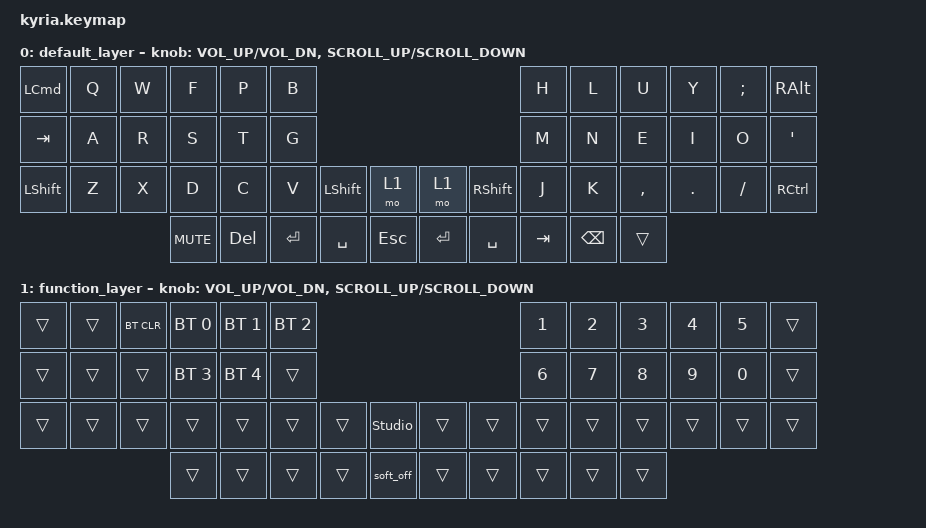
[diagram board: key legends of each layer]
/*
 * Copyright (c) 2020 The ZMK Contributors
 *
 * SPDX-License-Identifier: MIT
 */

#include <behaviors.dtsi>
#include <dt-bindings/zmk/bt.h>
#include <dt-bindings/zmk/keys.h>

/ {
    keymap {
        compatible = "zmk,keymap";

        default_layer {
            bindings = <
&kp LEFT_COMMAND  &kp Q  &kp W  &kp F       &kp P       &kp B                                                             &kp H    &kp L          &kp U      &kp Y    &kp SEMI   &kp RIGHT_ALT
&kp TAB           &kp A  &kp R  &kp S       &kp T       &kp G                                                             &kp M    &kp N          &kp E      &kp I    &kp O      &kp SINGLE_QUOTE
&kp LEFT_SHIFT    &kp Z  &kp X  &kp D       &kp C       &kp V       &kp LEFT_SHIFT  &mo 1    &mo 1       &kp RIGHT_SHIFT  &kp J    &kp K          &kp COMMA  &kp DOT  &kp SLASH  &kp RIGHT_CONTROL
                                &kp K_MUTE  &kp DELETE  &kp RETURN  &kp SPACE       &kp ESC  &kp RETURN  &kp SPACE        &kp TAB  &kp BACKSPACE  &trans
            >;

            sensor-bindings =
                <&inc_dec_kp C_VOL_UP C_VOL_DN>,
                <&inc_dec_kp K_SCROLL_UP K_SCROLL_DOWN>;
        };

        function_layer {

            bindings = <
&trans  &trans  &bt BT_CLR  &bt BT_SEL 0  &bt BT_SEL 1  &bt BT_SEL 2                                          &kp 1   &kp 2   &kp 3   &kp 4   &kp 5   &trans
&trans  &trans  &trans      &bt BT_SEL 3  &bt BT_SEL 4  &trans                                                &kp 6   &kp 7   &kp 8   &kp 9   &kp 0   &trans
&trans  &trans  &trans      &trans        &trans        &trans        &trans  &studio_unlock  &trans  &trans  &trans  &trans  &trans  &trans  &trans  &trans
                            &trans        &trans        &trans        &trans  &soft_off       &trans  &trans  &trans  &trans  &trans
            >;

            sensor-bindings =
                <&inc_dec_kp C_VOL_UP C_VOL_DN>,
                <&inc_dec_kp K_SCROLL_UP K_SCROLL_DOWN>;
        };
    };
};
